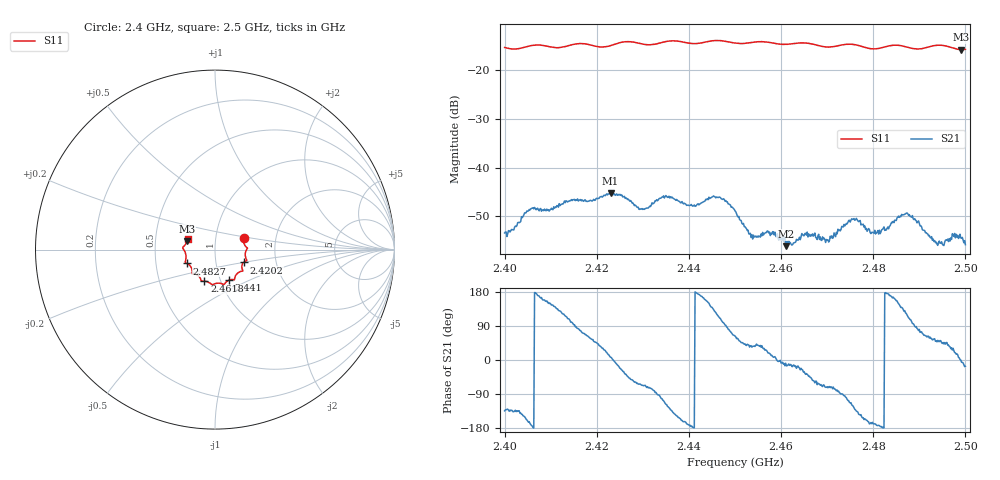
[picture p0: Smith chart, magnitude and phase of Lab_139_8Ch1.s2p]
# Hz S RI R 50
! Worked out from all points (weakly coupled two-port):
!   601 points, 2.4 GHz to 2.5 GHz, reference 50 ohm
!   highest |S21| = -45.19 dB at 2.423 GHz (marker M1); lowest = -56.1 dB at 2.461 GHz (marker M2)
!   lowest |S11| = -15.8 dB at 2.499 GHz (marker M3), VSWR 1.39, Z = 36.4 + j3.43 ohm
!   |S11| at or under -10 dB: start of sweep to end of sweep
!   S12 and S22 are empty: the file has one direction only
!   S11 on the Smith chart (normalised r, x): 2.4 GHz: 1.36, +0.18; 2.4202 GHz: 1.36, -0.20; 2.441 GHz: 1.10, -0.39; 2.4618 GHz: 0.84, -0.30; 2.4827 GHz: 0.72, -0.11; 2.5 GHz: 0.73, +0.09
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2.4e9  0.1589 0.0629  -0.00149 -0.00154  0 0  0 0
2.405667e9  0.1779 0.0117  -0.00372 -0.000656  0 0  0 0
2.416667e9  0.1774 -0.0608  0.00123 0.0044  0 0  0 0
2.420167e9  0.1591 -0.0716  0.00352 0.00328  0 0  0 0
2.423e9  0.1495 -0.0975  0.00546 0.000704  0 0  0 0
2.429667e9  0.1399 -0.123  0.00154 -0.00344  0 0  0 0
2.433333e9  0.1118 -0.1508  -0.000181 -0.00466  0 0  0 0
2.441e9  0.0788 -0.1698  -0.00407 -0.000122  0 0  0 0
2.445667e9  0.0507 -0.1947  -0.00304 0.004  0 0  0 0
2.45e9  0.0287 -0.1875  0.00162 0.00323  0 0  0 0
2.4535e9  -0.00435 -0.1917  0.00152 0.00118  0 0  0 0
2.461e9  -0.0509 -0.1768  0.00155 -0.000233  0 0  0 0
2.461833e9  -0.0589 -0.1755  0.00166 -0.00042  0 0  0 0
2.466667e9  -0.0789 -0.1683  0.00128 -0.00154  0 0  0 0
2.47e9  -0.0948 -0.1443  0.000601 -0.0017  0 0  0 0
2.475833e9  -0.1277 -0.1314  -0.00178 -0.00243  0 0  0 0
2.482667e9  -0.1559 -0.0771  -0.00233 9.33e-05  0 0  0 0
2.483333e9  -0.1601 -0.0751  -0.00235 0.000238  0 0  0 0
2.487333e9  -0.1628 -0.0572  -0.00168 0.003  0 0  0 0
2.493667e9  -0.1795 0.00808  0.0011 0.00134  0 0  0 0
2.499e9  -0.1555 0.0459  0.0019 -1.3e-06  0 0  0 0
2.5e9  -0.152 0.0602  0.00156 -0.000465  0 0  0 0
